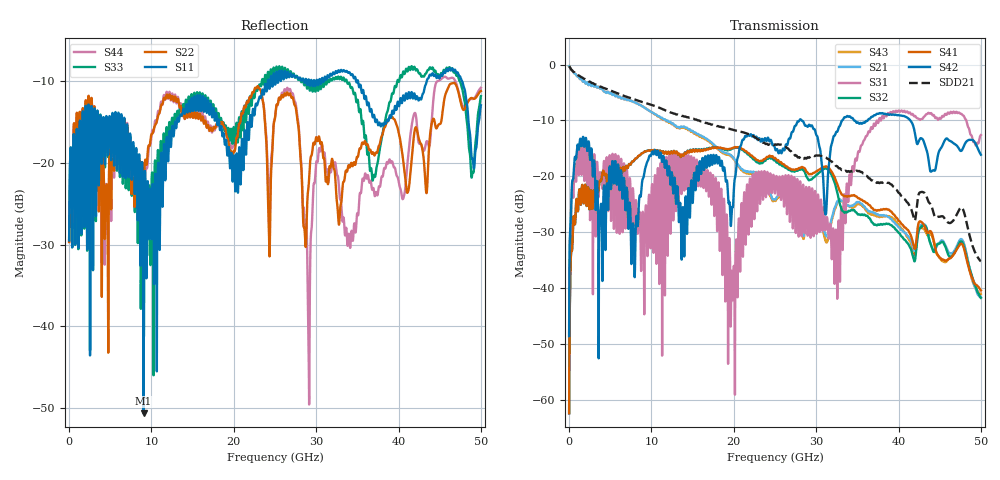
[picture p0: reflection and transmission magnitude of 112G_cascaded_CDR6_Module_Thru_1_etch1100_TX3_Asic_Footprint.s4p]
! Created Wed Feb 27 11:25:18 2019
# hz S ma R 50
! 4 Port Network Data from SP1.SP block
! freq  magS11  angS11  magS12  angS12  magS13  angS13  magS14  angS14
!  magS21  angS21  magS22  angS22  magS23  angS23  magS24  angS24
!  magS31  angS31  magS32  angS32  magS33  angS33  magS34  angS34
!  magS41  angS41  magS42  angS42  magS43  angS43  magS44  angS44
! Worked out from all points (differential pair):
!   5000 points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, 10 MHz to 50 GHz, reference 50 ohm
!   strongest paths, dB at 10 MHz, 12.51 GHz, 25.01 GHz, 37.51 GHz, 50 GHz:
!     S42: -48.6, -19.6, -15.1, -8.8, -16.1
!     S41: -62.4, -15.8, -16.7, -26.1, -40.4
!     S32: -62.4, -15.8, -17.1, -28.6, -41.8
!     S31: -48.6, -16.3, -23.0, -10.5, -12.6
!     S21: -0.3, -10.6, -24.2, -26.8, -41.7
!     S43: -0.3, -10.7, -24.4, -27.1, -41.1
!   taken as a pair (ports 1,3 in; 2,4 out), SDD21 dB: -0.3, -8.6, -14.3, -21.1, -35.2
!   lowest |S11| = -50.6 dB at 9.05 GHz (marker M1), VSWR 1.01, Z = 50.3 - j0.0446 ohm
!   |S11| at or under -10 dB: start of sweep to 24.13 GHz; 35.08 GHz to 43.43 GHz (8.356 GHz wide, 21.3 % of centre); 47.71 GHz to end of sweep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
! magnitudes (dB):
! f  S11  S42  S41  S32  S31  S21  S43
! 10 MHz  -29.5  -48.6  -62.4  -62.4  -48.6  -0.3  -0.3
! 1.09 GHz  -24.5  -14.6  -26.2  -26.2  -16.4  -2.1  -2.1
! 9.05 GHz  -50.6  -20.2  -15.7  -15.7  -30.1  -7.6  -7.6
! 26.68 GHz  -9.4  -13.3  -18.6  -18.9  -20.3  -22.9  -23.7
! 29.12 GHz  -9.9  -10.8  -19.7  -20.7  -22.3  -26.4  -26.1
! 30.53 GHz  -10.2  -15.6  -18.7  -19.1  -24.8  -27.6  -27.7
! 50 GHz  -13.0  -16.1  -40.4  -41.8  -12.6  -41.7  -41.1
